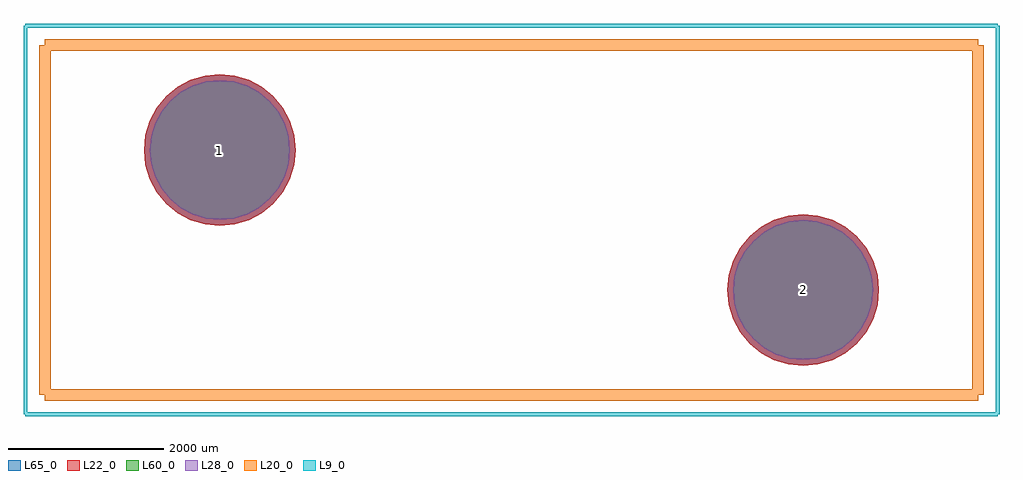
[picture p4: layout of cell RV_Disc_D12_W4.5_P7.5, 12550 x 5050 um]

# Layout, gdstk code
import gdstk
lib = gdstk.Library(unit=1e-6, precision=1e-09)
def P(c, l, *ps):  # polygons
    for p in ps: c.add(gdstk.Polygon(p, *l))
L9_0 = (9, 0)
L20_0 = (20, 0)
L22_0 = (22, 0)
L28_0 = (28, 0)
L60_0 = (60, 0)
L65_0 = (65, 0)

rv_disc_d12_w4_5_p7_5 = lib.new_cell('RV_Disc_D12_W4.5_P7.5')
P(rv_disc_d12_w4_5_p7_5, L22_0, [(8475,-1800),(8456.266,-1609.787),(8400.783,-1426.884),(8310.683,-1258.319),(8189.429,-1110.571),(8041.681,-989.317),(7873.116,-899.217),(7690.213,-843.734),(7500,-825),(7309.787,-843.734),(7126.884,-899.217),(6958.319,-989.317),(6810.571,-1110.571),(6689.317,-1258.319),(6599.217,-1426.884),(6543.734,-1609.787),(6525,-1800),(6543.734,-1990.213),(6599.217,-2173.116),(6689.317,-2341.681),(6810.571,-2489.429),(6958.319,-2610.683),(7126.884,-2700.783),(7309.787,-2756.266),(7500,-2775),(7690.213,-2756.266),(7873.116,-2700.783),(8041.681,-2610.683),(8189.429,-2489.429),(8310.683,-2341.681),(8400.783,-2173.116),(8456.266,-1990.213)],
  [(975,0),(956.266,190.213),(900.783,373.116),(810.683,541.681),(689.429,689.429),(541.681,810.683),(373.116,900.783),(190.213,956.266),(0,975),(-190.213,956.266),(-373.116,900.783),(-541.681,810.683),(-689.429,689.429),(-810.683,541.681),(-900.783,373.116),(-956.266,190.213),(-975,0),(-956.266,-190.213),(-900.783,-373.116),(-810.683,-541.681),(-689.429,-689.429),(-541.681,-810.683),(-373.116,-900.783),(-190.213,-956.266),(0,-975),(190.213,-956.266),(373.116,-900.783),(541.681,-810.683),(689.429,-689.429),(810.683,-541.681),(900.783,-373.116),(956.266,-190.213)])
P(rv_disc_d12_w4_5_p7_5, L28_0, [(8400,-1800),(8382.707,-1624.419),(8331.492,-1455.585),(8248.323,-1299.987),(8136.396,-1163.604),(8000.013,-1051.677),(7844.415,-968.508),(7675.581,-917.293),(7500,-900),(7324.419,-917.293),(7155.585,-968.508),(6999.987,-1051.677),(6863.604,-1163.604),(6751.677,-1299.987),(6668.508,-1455.585),(6617.293,-1624.419),(6600,-1800),(6617.293,-1975.581),(6668.508,-2144.415),(6751.677,-2300.013),(6863.604,-2436.396),(6999.987,-2548.323),(7155.585,-2631.492),(7324.419,-2682.707),(7500,-2700),(7675.581,-2682.707),(7844.415,-2631.492),(8000.013,-2548.323),(8136.396,-2436.396),(8248.323,-2300.013),(8331.492,-2144.415),(8382.707,-1975.581)],
  [(900,0),(882.707,175.581),(831.492,344.415),(748.323,500.013),(636.396,636.396),(500.013,748.323),(344.415,831.492),(175.581,882.707),(0,900),(-175.581,882.707),(-344.415,831.492),(-500.013,748.323),(-636.396,636.396),(-748.323,500.013),(-831.492,344.415),(-882.707,175.581),(-900,0),(-882.707,-175.581),(-831.492,-344.415),(-748.323,-500.013),(-636.396,-636.396),(-500.013,-748.323),(-344.415,-831.492),(-175.581,-882.707),(0,-900),(175.581,-882.707),(344.415,-831.492),(500.013,-748.323),(636.396,-636.396),(748.323,-500.013),(831.492,-344.415),(882.707,-175.581)])
P(rv_disc_d12_w4_5_p7_5, L60_0, [(8400,-1800),(8382.707,-1624.419),(8331.492,-1455.585),(8248.323,-1299.987),(8136.396,-1163.604),(8000.013,-1051.677),(7844.415,-968.508),(7675.581,-917.293),(7500,-900),(7324.419,-917.293),(7155.585,-968.508),(6999.987,-1051.677),(6863.604,-1163.604),(6751.677,-1299.987),(6668.508,-1455.585),(6617.293,-1624.419),(6600,-1800),(6617.293,-1975.581),(6668.508,-2144.415),(6751.677,-2300.013),(6863.604,-2436.396),(6999.987,-2548.323),(7155.585,-2631.492),(7324.419,-2682.707),(7500,-2700),(7675.581,-2682.707),(7844.415,-2631.492),(8000.013,-2548.323),(8136.396,-2436.396),(8248.323,-2300.013),(8331.492,-2144.415),(8382.707,-1975.581)],
  [(900,0),(882.707,175.581),(831.492,344.415),(748.323,500.013),(636.396,636.396),(500.013,748.323),(344.415,831.492),(175.581,882.707),(0,900),(-175.581,882.707),(-344.415,831.492),(-500.013,748.323),(-636.396,636.396),(-748.323,500.013),(-831.492,344.415),(-882.707,175.581),(-900,0),(-882.707,-175.581),(-831.492,-344.415),(-748.323,-500.013),(-636.396,-636.396),(-500.013,-748.323),(-344.415,-831.492),(-175.581,-882.707),(0,-900),(175.581,-882.707),(344.415,-831.492),(500.013,-748.323),(636.396,-636.396),(748.323,-500.013),(831.492,-344.415),(882.707,-175.581)])
P(rv_disc_d12_w4_5_p7_5, L65_0, [(8475,-1800),(8456.266,-1609.787),(8400.783,-1426.884),(8310.683,-1258.319),(8189.429,-1110.571),(8041.681,-989.317),(7873.116,-899.217),(7690.213,-843.734),(7500,-825),(7309.787,-843.734),(7126.884,-899.217),(6958.319,-989.317),(6810.571,-1110.571),(6689.317,-1258.319),(6599.217,-1426.884),(6543.734,-1609.787),(6525,-1800),(6543.734,-1990.213),(6599.217,-2173.116),(6689.317,-2341.681),(6810.571,-2489.429),(6958.319,-2610.683),(7126.884,-2700.783),(7309.787,-2756.266),(7500,-2775),(7690.213,-2756.266),(7873.116,-2700.783),(8041.681,-2610.683),(8189.429,-2489.429),(8310.683,-2341.681),(8400.783,-2173.116),(8456.266,-1990.213)],
  [(975,0),(956.266,190.213),(900.783,373.116),(810.683,541.681),(689.429,689.429),(541.681,810.683),(373.116,900.783),(190.213,956.266),(0,975),(-190.213,956.266),(-373.116,900.783),(-541.681,810.683),(-689.429,689.429),(-810.683,541.681),(-900.783,373.116),(-956.266,190.213),(-975,0),(-956.266,-190.213),(-900.783,-373.116),(-810.683,-541.681),(-689.429,-689.429),(-541.681,-810.683),(-373.116,-900.783),(-190.213,-956.266),(0,-975),(190.213,-956.266),(373.116,-900.783),(541.681,-810.683),(689.429,-689.429),(810.683,-541.681),(900.783,-373.116),(956.266,-190.213)])
rv_disc_d12_w4_5_p7_5.add(gdstk.FlexPath([(-2250,1350),(-2250,-3150)], 149.998, ends="flush", simple_path=True, layer=20, datatype=0))  # L20_0
rv_disc_d12_w4_5_p7_5.add(gdstk.FlexPath([(9750,1350),(9750,-3150)], 149.998, ends="flush", simple_path=True, layer=20, datatype=0))  # L20_0
rv_disc_d12_w4_5_p7_5.add(gdstk.FlexPath([(-2250,1350),(9750,1350)], 149.998, ends="flush", simple_path=True, layer=20, datatype=0))  # L20_0
rv_disc_d12_w4_5_p7_5.add(gdstk.FlexPath([(-2250,-3150),(9750,-3150)], 149.998, ends="flush", simple_path=True, layer=20, datatype=0))  # L20_0
rv_disc_d12_w4_5_p7_5.add(gdstk.FlexPath([(-2500,1600),(-2500,-3400)], 50, ends="flush", simple_path=True, layer=9, datatype=0))  # L9_0
rv_disc_d12_w4_5_p7_5.add(gdstk.FlexPath([(10000,1600),(10000,-3400)], 50, ends="flush", simple_path=True, layer=9, datatype=0))  # L9_0
rv_disc_d12_w4_5_p7_5.add(gdstk.FlexPath([(-2500,1600),(10000,1600)], 50, ends="flush", simple_path=True, layer=9, datatype=0))  # L9_0
rv_disc_d12_w4_5_p7_5.add(gdstk.FlexPath([(-2500,-3400),(10000,-3400)], 50, ends="flush", simple_path=True, layer=9, datatype=0))  # L9_0
rv_disc_d12_w4_5_p7_5.add(gdstk.Label('2', (7500,-1800), layer=28, texttype=0))
rv_disc_d12_w4_5_p7_5.add(gdstk.Label('1', (0,0), layer=28, texttype=0))
rv_disc_d12_w4_5_p7_5.add(gdstk.Label('type', (3750,2350), layer=9, texttype=0))
rv_disc_d12_w4_5_p7_5.add(gdstk.Label('devicename', (3750,-4150), layer=9, texttype=0))

lib.write_gds('RV_Disc_D12_W4.5_P7.5.gds')
